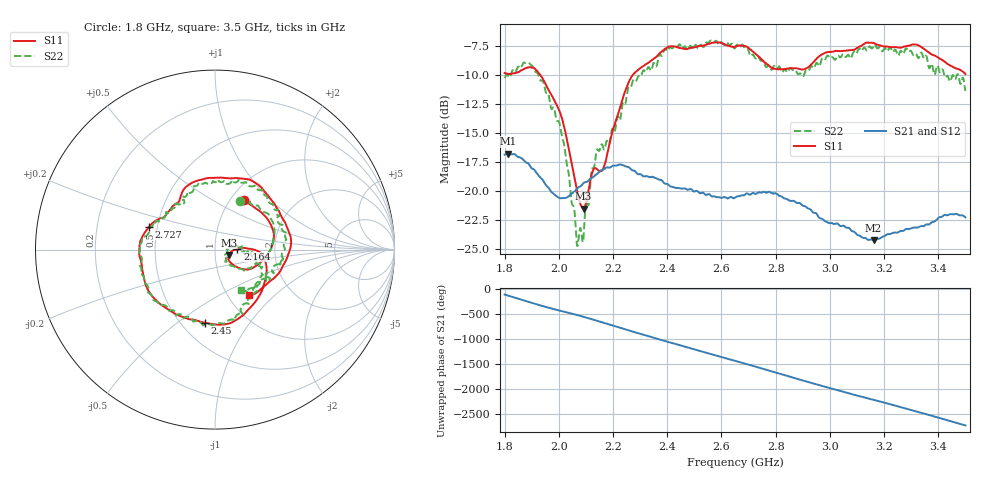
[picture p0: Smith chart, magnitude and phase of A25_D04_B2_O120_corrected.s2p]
! Created with skrf 1.9.0 (http://scikit-rf.org).
# Hz S RI R 50.0
!freq ReS11 ImS11 ReS21 ImS21 ReS12 ImS12 ReS22 ImS22
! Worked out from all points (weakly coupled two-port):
!   1601 points, 1.8 GHz to 3.5 GHz, reference 50 ohm
!   highest |S21| = -16.77 dB at 1.812 GHz (marker M1); lowest = -24.2 dB at 3.161 GHz (marker M2)
!   lowest |S11| = -21.5 dB at 2.091 GHz (marker M3), VSWR 1.18, Z = 58.4 - j3.55 ohm
!   |S11| at or under -10 dB: 1.931 GHz to 2.273 GHz (342.2 MHz wide, 16.3 % of centre)
!   |S22| runs from -24.7 to -7.0 dB; largest |S21 - S12| = 0.0023
!   S11 on the Smith chart (normalised r, x): 1.8 GHz: 1.15, +0.71; 2.164 GHz: 1.29, +0.01; 2.45 GHz: 0.65, -0.64; 2.727 GHz: 0.45, +0.14; 3.5 GHz: 1.25, -0.71
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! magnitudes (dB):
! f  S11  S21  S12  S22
! 1.8 GHz  -9.8  -16.9  -16.9  -10.3
! 1.812 GHz  -9.9  -16.8  -16.8  -10.0
! 1.882 GHz  -9.4  -17.6  -17.6  -9.0
! 1.941 GHz  -10.3  -19.1  -19.1  -10.5
! 2.007 GHz  -13.4  -20.6  -20.6  -14.7
! 2.066 GHz  -19.8  -19.8  -19.8  -24.3
! 2.084 GHz  -21.3  -19.5  -19.5  -23.6
! 2.091 GHz  -21.5  -19.3  -19.3  -24.0
! 2.128 GHz  -18.1  -18.8  -18.8  -18.1
! 2.164 GHz  -18.0  -18.1  -18.1  -16.3
! 2.261 GHz  -10.5  -18.0  -18.0  -11.0
! 2.367 GHz  -8.3  -19.0  -18.9  -8.5
! 2.45 GHz  -7.7  -19.8  -19.8  -7.5
! 2.65 GHz  -7.6  -20.6  -20.5  -7.7
! 2.727 GHz  -8.2  -20.3  -20.2  -8.6
! 2.798 GHz  -9.5  -20.2  -20.2  -9.3
! 2.898 GHz  -9.5  -21.2  -21.2  -10.1
! 2.934 GHz  -9.1  -21.7  -21.7  -9.3
! 3.161 GHz  -7.3  -24.2  -24.1  -7.5
! 3.217 GHz  -7.6  -23.7  -23.6  -7.8
! 3.324 GHz  -7.4  -23.1  -23.1  -8.5
! 3.5 GHz  -9.9  -22.3  -22.2  -11.4
